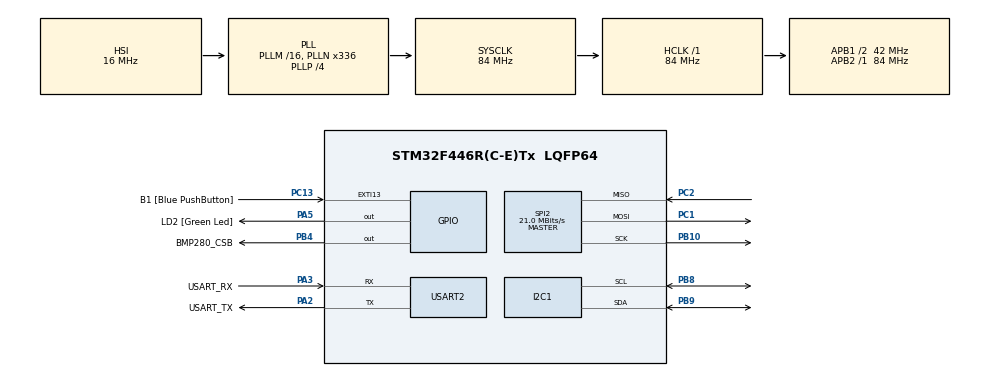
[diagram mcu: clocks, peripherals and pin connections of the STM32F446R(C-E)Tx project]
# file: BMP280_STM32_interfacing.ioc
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Mcu.Family=STM32F4
Mcu.Name=STM32F446R(C-E)Tx
Mcu.Package=LQFP64
NVIC.PriorityGroup=NVIC_PRIORITYGROUP_0
PA13.GPIO_Label=TMS
PA13.Mode=Serial_Wire
PA13.Signal=SYS_JTMS-SWDIO
PA14.GPIO_Label=TCK
PA14.Mode=Serial_Wire
PA14.Signal=SYS_JTCK-SWCLK
PA2.GPIO_Label=USART_TX
PA2.Mode=Asynchronous
PA2.Signal=USART2_TX
PA3.GPIO_Label=USART_RX
PA3.Mode=Asynchronous
PA3.Signal=USART2_RX
PA5.GPIO_Label=LD2 [Green Led]
PA5.Signal=GPIO_Output
PB10.Mode=Full_Duplex_Master
PB10.Signal=SPI2_SCK
PB3.GPIO_Label=SWO
PB3.Signal=SYS_JTDO-SWO
PB4.GPIO_Label=BMP280_CSB
PB4.Signal=GPIO_Output
PB8.Mode=I2C
PB8.Signal=I2C1_SCL
PB9.Mode=I2C
PB9.Signal=I2C1_SDA
PC1.Mode=Full_Duplex_Master
PC1.Signal=SPI2_MOSI
PC13.GPIO_Label=B1 [Blue PushButton]
PC13.GPIO_ModeDefaultEXTI=GPIO_MODE_IT_FALLING
PC13.Signal=GPXTI13
PC14-OSC32_IN.Mode=LSE-External-Oscillator
PC14-OSC32_IN.Signal=RCC_OSC32_IN
PC15-OSC32_OUT.Mode=LSE-External-Oscillator
PC15-OSC32_OUT.Signal=RCC_OSC32_OUT
PC2.Mode=Full_Duplex_Master
PC2.Signal=SPI2_MISO
PH0-OSC_IN.Mode=HSE-External-Oscillator
PH0-OSC_IN.Signal=RCC_OSC_IN
PH1-OSC_OUT.Mode=HSE-External-Oscillator
PH1-OSC_OUT.Signal=RCC_OSC_OUT
ProjectManager.HeapSize=0x200
ProjectManager.StackSize=0x400
ProjectManager.TargetToolchain=STM32CubeIDE
RCC.48MHZClocksFreq_Value=84000000
RCC.AHBFreq_Value=84000000
RCC.APB1CLKDivider=RCC_HCLK_DIV2
RCC.APB1Freq_Value=42000000
RCC.APB1TimFreq_Value=84000000
RCC.APB2Freq_Value=84000000
RCC.APB2TimFreq_Value=84000000
RCC.CortexFreq_Value=84000000
RCC.FLatency-AdvancedSettings=FLASH_LATENCY_2
RCC.HCLKFreq_Value=84000000
RCC.HSE_VALUE=8000000
RCC.HSI_VALUE=16000000
RCC.PLLN=336
RCC.PLLP=RCC_PLLP_DIV4
RCC.SYSCLKFreq_VALUE=84000000
RCC.SYSCLKSource=RCC_SYSCLKSOURCE_PLLCLK
RCC.USBFreq_Value=168000000
RCC.VCOOutputFreq_Value=336000000
SPI2.CalculateBaudRate=21.0 MBits/s
SPI2.Direction=SPI_DIRECTION_2LINES
SPI2.Mode=SPI_MODE_MASTER
SPI2.VirtualType=VM_MASTER
USART2.VirtualMode=VM_ASYNC
board=NUCLEO-F446RE

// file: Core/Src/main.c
/* USER CODE BEGIN Header */
/**
  ******************************************************************************
  * @file           : main.c
  * @brief          : Main program body
  ******************************************************************************
  * @attention
  *
  * <h2><center>&copy; Copyright (c) 2020 STMicroelectronics.
  * All rights reserved.</center></h2>
  *
  * This software component is licensed by ST under BSD 3-Clause license,
  * the "License"; You may not use this file except in compliance with the
  * License. You may obtain a copy of the License at:
  *                        opensource.org/licenses/BSD-3-Clause
  *
  ******************************************************************************
  */
/* USER CODE END Header */

#include "main.h"

/* USER CODE BEGIN PTD */

/**
 * added inorder to use printf function.
 */
#ifdef __GNUC__
  /* With GCC, small printf (option LD Linker->Libraries->Small printf
     set to 'Yes') calls __io_putchar() */
  #define PUTCHAR_PROTOTYPE int __io_putchar(int ch)
#else
  #define PUTCHAR_PROTOTYPE int fputc(int ch, FILE *f)
#endif /* __GNUC__ */
/* USER CODE END PTD */

I2C_HandleTypeDef hi2c1;

SPI_HandleTypeDef hspi2;

UART_HandleTypeDef huart2;

void SystemClock_Config(void);
static void MX_GPIO_Init(void);
static void MX_USART2_UART_Init(void);
static void MX_I2C1_Init(void);
static void MX_SPI2_Init(void);

int main(void)
{

  /* MCU Configuration--------------------------------------------------------*/

  /* Reset of all peripherals, Initializes the Flash interface and the Systick. */
  HAL_Init();

  /* Configure the system clock */
  SystemClock_Config();

  /* Initialize all configured peripherals */
  MX_GPIO_Init();
  MX_USART2_UART_Init();
  MX_I2C1_Init();
  MX_SPI2_Init();
  /* USER CODE BEGIN 2 */

  /**
   * The Chip select pin is set high inoder to disable the slave
   */
  HAL_GPIO_WritePin(GPIOB,GPIO_PIN_4,GPIO_PIN_SET);
  HAL_Delay(10);

  BMP280CheckStatus();
  BMP280reset();
  HAL_Delay(1000);
  SetOverSamplingNPowerMode();
  BMP280readCoefficients();

  /* USER CODE END 2 */

  /* Infinite loop */
  /* USER CODE BEGIN WHILE */
  while (1)
  {

	  printf("%d Deg C\t",(int)BMP280readTemperature());
	  printf("%d P\r\n",(int)BMP280readPressure());
	  HAL_Delay(1000);

    /* USER CODE END WHILE */

  }
}

void SystemClock_Config(void)
{
  RCC_OscInitTypeDef RCC_OscInitStruct = {0};
  RCC_ClkInitTypeDef RCC_ClkInitStruct = {0};

  /** Configure the main internal regulator output voltage
  */
  __HAL_RCC_PWR_CLK_ENABLE();
  __HAL_PWR_VOLTAGESCALING_CONFIG(PWR_REGULATOR_VOLTAGE_SCALE3);
  /** Initializes the CPU, AHB and APB busses clocks
  */
  RCC_OscInitStruct.OscillatorType = RCC_OSCILLATORTYPE_HSI;
  RCC_OscInitStruct.HSIState = RCC_HSI_ON;
  RCC_OscInitStruct.HSICalibrationValue = RCC_HSICALIBRATION_DEFAULT;
  RCC_OscInitStruct.PLL.PLLState = RCC_PLL_ON;
  RCC_OscInitStruct.PLL.PLLSource = RCC_PLLSOURCE_HSI;
  RCC_OscInitStruct.PLL.PLLM = 16;
  RCC_OscInitStruct.PLL.PLLN = 336;
  RCC_OscInitStruct.PLL.PLLP = RCC_PLLP_DIV4;
  RCC_OscInitStruct.PLL.PLLQ = 2;
  RCC_OscInitStruct.PLL.PLLR = 2;
  if (HAL_RCC_OscConfig(&RCC_OscInitStruct) != HAL_OK)
  {
    Error_Handler();
  }
  /** Initializes the CPU, AHB and APB busses clocks
  */
  RCC_ClkInitStruct.ClockType = RCC_CLOCKTYPE_HCLK|RCC_CLOCKTYPE_SYSCLK
                              |RCC_CLOCKTYPE_PCLK1|RCC_CLOCKTYPE_PCLK2;
  RCC_ClkInitStruct.SYSCLKSource = RCC_SYSCLKSOURCE_PLLCLK;
  RCC_ClkInitStruct.AHBCLKDivider = RCC_SYSCLK_DIV1;
  RCC_ClkInitStruct.APB1CLKDivider = RCC_HCLK_DIV2;
  RCC_ClkInitStruct.APB2CLKDivider = RCC_HCLK_DIV1;

  if (HAL_RCC_ClockConfig(&RCC_ClkInitStruct, FLASH_LATENCY_2) != HAL_OK)
  {
    Error_Handler();
  }
}

static void MX_I2C1_Init(void)
{

  hi2c1.Instance = I2C1;
  hi2c1.Init.ClockSpeed = 100000;
  hi2c1.Init.DutyCycle = I2C_DUTYCYCLE_2;
  hi2c1.Init.OwnAddress1 = 0;
  hi2c1.Init.AddressingMode = I2C_ADDRESSINGMODE_7BIT;
  hi2c1.Init.DualAddressMode = I2C_DUALADDRESS_DISABLE;
  hi2c1.Init.OwnAddress2 = 0;
  hi2c1.Init.GeneralCallMode = I2C_GENERALCALL_DISABLE;
  hi2c1.Init.NoStretchMode = I2C_NOSTRETCH_DISABLE;
  if (HAL_I2C_Init(&hi2c1) != HAL_OK)
  {
    Error_Handler();
  }

}

static void MX_SPI2_Init(void)
{

  /* SPI2 parameter configuration*/
  hspi2.Instance = SPI2;
  hspi2.Init.Mode = SPI_MODE_MASTER;
  hspi2.Init.Direction = SPI_DIRECTION_2LINES;
  hspi2.Init.DataSize = SPI_DATASIZE_8BIT;
  hspi2.Init.CLKPolarity = SPI_POLARITY_LOW;
  hspi2.Init.CLKPhase = SPI_PHASE_1EDGE;
  hspi2.Init.NSS = SPI_NSS_SOFT;
  hspi2.Init.BaudRatePrescaler = SPI_BAUDRATEPRESCALER_2;
  hspi2.Init.FirstBit = SPI_FIRSTBIT_MSB;
  hspi2.Init.TIMode = SPI_TIMODE_DISABLE;
  hspi2.Init.CRCCalculation = SPI_CRCCALCULATION_DISABLE;
  hspi2.Init.CRCPolynomial = 10;
  if (HAL_SPI_Init(&hspi2) != HAL_OK)
  {
    Error_Handler();
  }

}

static void MX_USART2_UART_Init(void)
{

  huart2.Instance = USART2;
  huart2.Init.BaudRate = 115200;
  huart2.Init.WordLength = UART_WORDLENGTH_8B;
  huart2.Init.StopBits = UART_STOPBITS_1;
  huart2.Init.Parity = UART_PARITY_NONE;
  huart2.Init.Mode = UART_MODE_TX_RX;
  huart2.Init.HwFlowCtl = UART_HWCONTROL_NONE;
  huart2.Init.OverSampling = UART_OVERSAMPLING_16;
  if (HAL_UART_Init(&huart2) != HAL_OK)
  {
    Error_Handler();
  }

}

static void MX_GPIO_Init(void)
{
  GPIO_InitTypeDef GPIO_InitStruct = {0};

  /* GPIO Ports Clock Enable */
  __HAL_RCC_GPIOC_CLK_ENABLE();
  __HAL_RCC_GPIOH_CLK_ENABLE();
  __HAL_RCC_GPIOA_CLK_ENABLE();
  __HAL_RCC_GPIOB_CLK_ENABLE();

  /*Configure GPIO pin Output Level */
  HAL_GPIO_WritePin(LD2_GPIO_Port, LD2_Pin, GPIO_PIN_RESET);

  /*Configure GPIO pin Output Level */
  HAL_GPIO_WritePin(BMP280_CSB_GPIO_Port, BMP280_CSB_Pin, GPIO_PIN_RESET);

  /*Configure GPIO pin : B1_Pin */
  GPIO_InitStruct.Pin = B1_Pin;
  GPIO_InitStruct.Mode = GPIO_MODE_IT_FALLING;
  GPIO_InitStruct.Pull = GPIO_NOPULL;
  HAL_GPIO_Init(B1_GPIO_Port, &GPIO_InitStruct);

  /*Configure GPIO pin : LD2_Pin */
  GPIO_InitStruct.Pin = LD2_Pin;
  GPIO_InitStruct.Mode = GPIO_MODE_OUTPUT_PP;
  GPIO_InitStruct.Pull = GPIO_NOPULL;
  GPIO_InitStruct.Speed = GPIO_SPEED_FREQ_LOW;
  HAL_GPIO_Init(LD2_GPIO_Port, &GPIO_InitStruct);

  /*Configure GPIO pin : BMP280_CSB_Pin */
  GPIO_InitStruct.Pin = BMP280_CSB_Pin;
  GPIO_InitStruct.Mode = GPIO_MODE_OUTPUT_PP;
  GPIO_InitStruct.Pull = GPIO_NOPULL;
  GPIO_InitStruct.Speed = GPIO_SPEED_FREQ_LOW;
  HAL_GPIO_Init(BMP280_CSB_GPIO_Port, &GPIO_InitStruct);

}

/* USER CODE BEGIN 4 */

/**
 * Added inorder to use printf function.
 */
PUTCHAR_PROTOTYPE
{
  /* Place your implementation of fputc here */
  /* e.g. write a character to the EVAL_COM1 and Loop until the end of transmission */
  HAL_UART_Transmit(&huart2, (uint8_t *)&ch, 1, 0xFFFF);

  return ch;
}
/* USER CODE END 4 */

void Error_Handler(void)
{
}

/************************ (C) COPYRIGHT STMicroelectronics *****END OF FILE****/
